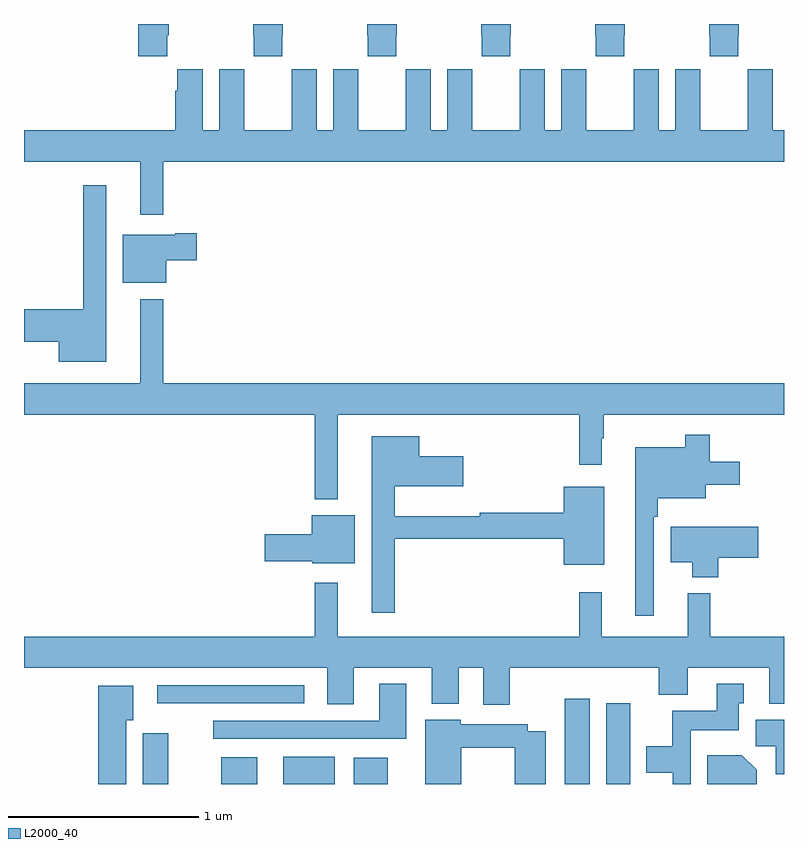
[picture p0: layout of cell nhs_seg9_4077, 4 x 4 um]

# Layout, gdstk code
import gdstk
lib = gdstk.Library(unit=1e-6, precision=1e-09)
def R(c, l, rs):  # rectangles x0, y0, x1, y1
    for r in rs: c.add(gdstk.rectangle(r[:2], r[2:], *l))
def P(c, l, *ps):  # polygons
    for p in ps: c.add(gdstk.Polygon(p, *l))
L2000_40 = (2000, 40)

nhs_seg9_4077 = lib.new_cell('nhs_seg9_4077')
R(nhs_seg9_4077, L2000_40, [(345.626,1170.5,345.76,1170.766), (346.037,1170.5,346.228,1170.64), (346.364,1170.5,346.636,1170.643), (346.736,1170.5,346.915,1170.637), (347.846,1170.5,347.977,1170.949), (348.065,1170.5,348.19,1170.925), (345.702,1170.924,346.474,1171.02)])
P(nhs_seg9_4077, L2000_40, [(345.755,1174.441),(345.762,1174.441),(345.762,1174.5),(345.602,1174.5),(345.602,1174.329),(345.755,1174.329)],
  [(346.359,1174.441),(346.362,1174.441),(346.362,1174.5),(346.207,1174.5),(346.207,1174.441),(346.209,1174.441),(346.209,1174.329),(346.359,1174.329)],
  [(346.959,1174.441),(346.962,1174.441),(346.962,1174.5),(346.807,1174.5),(346.807,1174.441),(346.809,1174.441),(346.809,1174.329),(346.959,1174.329)],
  [(347.559,1174.441),(347.562,1174.441),(347.562,1174.5),(347.407,1174.5),(347.407,1174.441),(347.409,1174.441),(347.409,1174.329),(347.559,1174.329)],
  [(348.159,1174.441),(348.162,1174.441),(348.162,1174.5),(348.007,1174.5),(348.007,1174.441),(348.009,1174.441),(348.009,1174.329),(348.159,1174.329)],
  [(348.759,1174.441),(348.762,1174.441),(348.762,1174.5),(348.607,1174.5),(348.607,1174.441),(348.609,1174.441),(348.609,1174.329),(348.759,1174.329)],
  [(345.733,1173.776),(349,1173.776),(349,1173.94),(348.94,1173.94),(348.94,1174.261),(348.81,1174.261),(348.81,1174.148),(348.809,1174.148),(348.809,1173.94),(348.559,1173.94),(348.559,1174.148),(348.558,1174.148),(348.558,1174.261),(348.428,1174.261),(348.428,1173.94),(348.34,1173.94),(348.34,1174.261),(348.21,1174.261),(348.21,1174.148),(348.209,1174.148),(348.209,1173.94),(347.959,1173.94),(347.959,1174.148),(347.958,1174.148),(347.958,1174.261),(347.828,1174.261),(347.828,1173.94),(347.74,1173.94),(347.74,1174.261),(347.61,1174.261),(347.61,1174.148),(347.609,1174.148),(347.609,1173.94),(347.359,1173.94),(347.359,1174.148),(347.358,1174.148),(347.358,1174.261),(347.228,1174.261),(347.228,1173.94),(347.14,1173.94),(347.14,1174.261),(347.01,1174.261),(347.01,1174.148),(347.009,1174.148),(347.009,1173.94),(346.759,1173.94),(346.759,1174.148),(346.758,1174.148),(346.758,1174.261),(346.628,1174.261),(346.628,1173.94),(346.54,1173.94),(346.54,1174.261),(346.41,1174.261),(346.41,1174.148),(346.409,1174.148),(346.409,1173.94),(346.159,1173.94),(346.159,1174.148),(346.158,1174.148),(346.158,1174.261),(346.028,1174.261),(346.028,1173.94),(345.94,1173.94),(345.94,1174.261),(345.806,1174.261),(345.806,1174.148),(345.797,1174.148),(345.797,1173.94),(345,1173.94),(345,1173.776),(345.611,1173.776),(345.611,1173.495),(345.733,1173.495)],
  [(345.433,1173.652),(345.312,1173.652),(345.312,1172.999),(345,1172.999),(345,1172.828),(345.182,1172.828),(345.182,1172.723),(345.433,1172.723)],
  [(345.748,1173.257),(345.91,1173.257),(345.91,1173.399),(345.797,1173.399),(345.797,1173.391),(345.521,1173.391),(345.521,1173.137),(345.748,1173.137)],
  [(346.651,1172.444),(347.923,1172.444),(347.923,1172.181),(348.04,1172.181),(348.04,1172.321),(348.052,1172.321),(348.052,1172.444),(349,1172.444),(349,1172.608),(345.733,1172.608),(345.733,1173.052),(345.611,1173.052),(345.611,1172.608),(345,1172.608),(345,1172.444),(346.53,1172.444),(346.53,1172),(346.651,1172)],
  [(348.315,1171.907),(348.335,1171.907),(348.335,1172.003),(348.589,1172.003),(348.589,1172.075),(348.766,1172.075),(348.766,1172.197),(348.608,1172.197),(348.608,1172.338),(348.48,1172.338),(348.48,1172.272),(348.218,1172.272),(348.218,1171.386),(348.315,1171.386)],
  [(346.951,1171.792),(347.84,1171.792),(347.84,1171.655),(348.055,1171.655),(348.055,1172.065),(347.84,1172.065),(347.84,1171.928),(347.398,1171.928),(347.398,1171.909),(346.951,1171.909),(346.951,1172.066),(347.311,1172.066),(347.311,1172.224),(347.08,1172.224),(347.08,1172.329),(346.829,1172.329),(346.829,1171.401),(346.951,1171.401)],
  [(346.741,1171.915),(346.514,1171.915),(346.514,1171.814),(346.266,1171.814),(346.266,1171.672),(346.518,1171.672),(346.518,1171.661),(346.741,1171.661)],
  [(348.653,1171.69),(348.865,1171.69),(348.865,1171.855),(348.404,1171.855),(348.404,1171.667),(348.518,1171.667),(348.518,1171.589),(348.653,1171.589)],
  [(347.557,1171.112),(348.341,1171.112),(348.341,1170.971),(348.493,1170.971),(348.493,1171.112),(348.923,1171.112),(348.923,1170.923),(349,1170.923),(349,1171.276),(348.611,1171.276),(348.611,1171.504),(348.494,1171.504),(348.494,1171.276),(348.041,1171.276),(348.041,1171.51),(347.923,1171.51),(347.923,1171.276),(346.651,1171.276),(346.651,1171.558),(346.53,1171.558),(346.53,1171.276),(345,1171.276),(345,1171.112),(346.595,1171.112),(346.595,1170.919),(346.735,1170.919),(346.735,1171.112),(347.147,1171.112),(347.147,1170.923),(347.287,1170.923),(347.287,1171.112),(347.417,1171.112),(347.417,1170.918),(347.557,1170.918)],
  [(347.011,1171.027),(346.871,1171.027),(346.871,1170.834),(345.996,1170.834),(345.996,1170.738),(347.011,1170.738)],
  [(348.51,1170.782),(348.763,1170.782),(348.763,1170.924),(348.787,1170.924),(348.787,1171.027),(348.647,1171.027),(348.647,1170.886),(348.412,1170.886),(348.412,1170.7),(348.275,1170.7),(348.275,1170.56),(348.414,1170.56),(348.414,1170.5),(348.51,1170.5)],
  [(345.538,1170.836),(345.574,1170.836),(345.574,1171.018),(345.392,1171.018),(345.392,1170.5),(345.538,1170.5)],
  [(347.302,1170.692),(347.584,1170.692),(347.584,1170.5),(347.746,1170.5),(347.746,1170.778),(347.65,1170.778),(347.65,1170.814),(347.298,1170.814),(347.298,1170.838),(347.111,1170.838),(347.111,1170.5),(347.302,1170.5)],
  [(349,1170.838),(348.851,1170.838),(348.851,1170.7),(348.956,1170.7),(348.956,1170.552),(349,1170.552)],
  [(348.856,1170.574),(348.778,1170.652),(348.595,1170.652),(348.595,1170.5),(348.856,1170.5)])

lib.write_gds('nhs_seg9_4077.gds')
